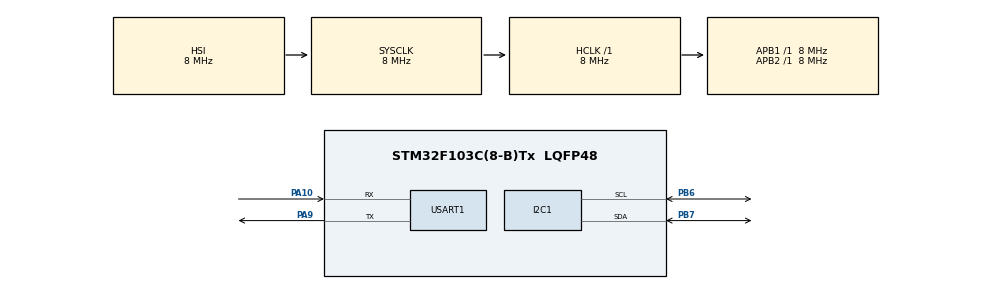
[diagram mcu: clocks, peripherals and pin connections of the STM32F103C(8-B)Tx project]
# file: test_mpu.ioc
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Mcu.Family=STM32F1
Mcu.Name=STM32F103C(8-B)Tx
Mcu.Package=LQFP48
NVIC.PriorityGroup=NVIC_PRIORITYGROUP_4
PA10.Mode=Asynchronous
PA10.Signal=USART1_RX
PA13.Mode=Serial_Wire
PA13.Signal=SYS_JTMS-SWDIO
PA14.Mode=Serial_Wire
PA14.Signal=SYS_JTCK-SWCLK
PA9.Mode=Asynchronous
PA9.Signal=USART1_TX
PB6.Mode=I2C
PB6.Signal=I2C1_SCL
PB7.Mode=I2C
PB7.Signal=I2C1_SDA
ProjectManager.HeapSize=0x200
ProjectManager.StackSize=0x400
ProjectManager.TargetToolchain=STM32CubeIDE
RCC.AHBFreq_Value=8000000
RCC.APB1Freq_Value=8000000
RCC.APB1TimFreq_Value=8000000
RCC.APB2Freq_Value=8000000
RCC.APB2TimFreq_Value=8000000
RCC.HCLKFreq_Value=8000000
RCC.SYSCLKFreq_VALUE=8000000
RCC.USBFreq_Value=8000000
USART1.VirtualMode=VM_ASYNC
board=custom

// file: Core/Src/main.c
/* USER CODE BEGIN Header */
/**
  ******************************************************************************
  * @file           : main.c
  * @brief          : Chuong trinh doc MPU-6050 qua I2C1 va xuat du lieu len PuTTY qua UART1
  ******************************************************************************
  * Cau hinh chan STM32F103:
  * - I2C1:  SCL = PB6, SDA = PB7 (MPU-6050 GY-521)
  * - UART1: TX = PA9,  RX = PA10 (115200 baud, noi vao USB-TTL de xem tren PuTTY)
  * - Nguon: VCC MPU-6050 noi vao 5V (hoac 3.3V), GND noi GND chung.
  ******************************************************************************
  */
/* USER CODE END Header */
#include "main.h"

/* USER CODE BEGIN Includes */
#include <stdio.h>
#include <string.h>
#include <stdlib.h>
/* USER CODE END Includes */

I2C_HandleTypeDef hi2c1;

UART_HandleTypeDef huart1;

/* USER CODE BEGIN PV */
uint8_t mpu_found = 0;
uint8_t mpu_dev_addr = 0; // Dia chi 8-bit cho HAL (0xD0 hoac 0xD2)
uint8_t who_am_i = 0;
/* USER CODE END PV */

void SystemClock_Config(void);
static void MX_GPIO_Init(void);
static void MX_I2C1_Init(void);
static void MX_USART1_UART_Init(void);
/* USER CODE BEGIN PFP */
void UART_Print(const char *str);
uint8_t MPU6050_Init_Sequence(void);
/* USER CODE END PFP */

/* USER CODE BEGIN 0 */
void UART_Print(const char *str)
{
  HAL_UART_Transmit(&huart1, (uint8_t *)str, strlen(str), 200);
}

// Ham khoi tao va cau hinh MPU-6050
uint8_t MPU6050_Init_Sequence(void)
{
  char log_buf[128];
  uint8_t check_addr[2] = {0x68 << 1, 0x69 << 1}; // 0xD0 va 0xD2

  mpu_found = 0;

  // 1. Quet tim xem MPU o dia chi 0x68 hay 0x69
  for (int i = 0; i < 2; i++) {
    if (HAL_I2C_IsDeviceReady(&hi2c1, check_addr[i], 3, 100) == HAL_OK) {
      mpu_found = 1;
      mpu_dev_addr = check_addr[i];
      break;
    }
  }

  // 2. Neu chua thay, quet toan bo bus 1..127 phong truong hop clone ID la
  if (!mpu_found) {
    for (uint8_t a = 1; a < 128; a++) {
      if (HAL_I2C_IsDeviceReady(&hi2c1, a << 1, 2, 50) == HAL_OK) {
        mpu_found = 1;
        mpu_dev_addr = a << 1;
        break;
      }
    }
  }

  if (!mpu_found) {
    UART_Print("[-] KHONG TIM THAY MPU-6050! Vui long kiem tra day:\r\n");
    UART_Print("    PB6 -> SCL | PB7 -> SDA | 5V -> VCC | GND -> GND\r\n\r\n");
    return 0;
  }

  // Thong bao tim thay
  snprintf(log_buf, sizeof(log_buf),
           "[+] TIM THAY THIET BI I2C tai dia chi 7-bit: 0x%02X (HAL Addr: 0x%02X)\r\n",
           mpu_dev_addr >> 1, mpu_dev_addr);
  UART_Print(log_buf);

  // 3. Doc thanh ghi WHO_AM_I (0x75)
  HAL_StatusTypeDef ret = HAL_I2C_Mem_Read(&hi2c1, mpu_dev_addr, 0x75, I2C_MEMADD_SIZE_8BIT, &who_am_i, 1, 100);
  if (ret == HAL_OK) {
    snprintf(log_buf, sizeof(log_buf), "[+] Doc WHO_AM_I thanh cong: 0x%02X ", who_am_i);
    UART_Print(log_buf);
    if (who_am_i == 0x68) UART_Print("(MPU-6050 Chinh hang)\r\n");
    else if (who_am_i == 0x70) UART_Print("(MPU-6500)\r\n");
    else if (who_am_i == 0x71) UART_Print("(MPU-9250)\r\n");
    else if (who_am_i == 0x72) UART_Print("(MPU-6515)\r\n");
    else if (who_am_i == 0x98) UART_Print("(MPU-6050 Clone)\r\n");
    else UART_Print("(Chip MPU/ICM Tuong thich)\r\n");
  } else {
    UART_Print("[-] Loi khi doc WHO_AM_I tu thanh ghi 0x75!\r\n");
  }

  // 4. Danh thuc MPU (Ghi 0x00 vao PWR_MGMT_1 tai 0x6B)
  uint8_t data_pwr = 0x00;
  HAL_I2C_Mem_Write(&hi2c1, mpu_dev_addr, 0x6B, I2C_MEMADD_SIZE_8BIT, &data_pwr, 1, 100);

  // 5. Bat ca 3 truc (Ghi 0x00 vao PWR_MGMT_2 tai 0x6C)
  uint8_t data_axes = 0x00;
  HAL_I2C_Mem_Write(&hi2c1, mpu_dev_addr, 0x6C, I2C_MEMADD_SIZE_8BIT, &data_axes, 1, 100);

  // 6. Cau hinh bo loc so DLPF 44Hz (Ghi 0x03 vao CONFIG tai 0x1A)
  uint8_t data_dlpf = 0x03;
  HAL_I2C_Mem_Write(&hi2c1, mpu_dev_addr, 0x1A, I2C_MEMADD_SIZE_8BIT, &data_dlpf, 1, 100);

  // 7. Cau hinh dai do gia toc +-2g (Ghi 0x00 vao ACCEL_CONFIG tai 0x1C)
  uint8_t data_scale = 0x00;
  HAL_I2C_Mem_Write(&hi2c1, mpu_dev_addr, 0x1C, I2C_MEMADD_SIZE_8BIT, &data_scale, 1, 100);

  UART_Print("[+] Da gui lenh danh thuc va cau hinh MPU thanh cong!\r\n");
  UART_Print("------------------------------------------------------------------------\r\n");
  return 1;
}
/* USER CODE END 0 */

int main(void)
{

  /* MCU Configuration--------------------------------------------------------*/

  /* Reset of all peripherals, Initializes the Flash interface and the Systick. */
  HAL_Init();

  /* Configure the system clock */
  SystemClock_Config();

  /* Initialize all configured peripherals */
  MX_GPIO_Init();
  MX_I2C1_Init();
  MX_USART1_UART_Init();

  /* USER CODE BEGIN 2 */
  HAL_Delay(500); // Cho MPU on dinh nguon

  UART_Print("\r\n========================================================================\r\n");
  UART_Print("   HE THONG KIEM THU CAM BIEN MPU-6050 (GY-521) QUA STM32 & PUTTY\r\n");
  UART_Print("   Baudrate: 115200 | SCL: PB6 | SDA: PB7 | TX: PA9 (Noi vao RX USB-TTL)\r\n");
  UART_Print("========================================================================\r\n\r\n");

  MPU6050_Init_Sequence();
  /* USER CODE END 2 */

  /* Infinite loop */
  /* USER CODE BEGIN WHILE */
  uint8_t raw_accel[6];
  char sample_buf[128];
  uint32_t sample_count = 0;

  while (1)
  {
    /* USER CODE END WHILE */

    /* USER CODE BEGIN 3 */
    if (mpu_found) {
      // Doc 6 bytes gia toc tu thanh ghi 0x3B (ACCEL_XOUT_H)
      HAL_StatusTypeDef status = HAL_I2C_Mem_Read(&hi2c1, mpu_dev_addr, 0x3B,
                                                  I2C_MEMADD_SIZE_8BIT, raw_accel, 6, 100);

      if (status == HAL_OK) {
        sample_count++;
        // Ghep 2 byte thanh so nguyen 16-bit co dau
        int16_t raw_ax = (int16_t)((raw_accel[0] << 8) | raw_accel[1]);
        int16_t raw_ay = (int16_t)((raw_accel[2] << 8) | raw_accel[3]);
        int16_t raw_az = (int16_t)((raw_accel[4] << 8) | raw_accel[5]);

        // Tinh gia tri gia toc don vi g (dài +-2g: 16384 LSB = 1.0g)
        float ax_g = (float)raw_ax / 16384.0f;
        float ay_g = (float)raw_ay / 16384.0f;
        float az_g = (float)raw_az / 16384.0f;

        // In ra PuTTY (format dep de quan sat su bien doi khi lac/nghieng MPU)
        snprintf(sample_buf, sizeof(sample_buf),
                 "#%05lu | Ax=%+6d (%+.2fg) | Ay=%+6d (%+.2fg) | Az=%+6d (%+.2fg)\r\n",
                 sample_count,
                 raw_ax, ax_g,
                 raw_ay, ay_g,
                 raw_az, az_g);
        UART_Print(sample_buf);
      } else {
        UART_Print("[-] Mat ket noi I2C khi doc gia toc! Dang thu ket noi lai...\r\n");
        HAL_Delay(500);
        MPU6050_Init_Sequence();
      }

      HAL_Delay(100); // Doc 10 lan/giay (10 Hz) de PuTTY hien thi ro rang, de nhin
    } else {
      // Neu chua tim thay, lap lai do tim sau moi 2 giay
      HAL_Delay(2000);
      MPU6050_Init_Sequence();
    }
  }
  /* USER CODE END 3 */
}

void SystemClock_Config(void)
{
  RCC_OscInitTypeDef RCC_OscInitStruct = {0};
  RCC_ClkInitTypeDef RCC_ClkInitStruct = {0};

  /** Initializes the RCC Oscillators according to the specified parameters
  * in the RCC_OscInitTypeDef structure.
  */
  RCC_OscInitStruct.OscillatorType = RCC_OSCILLATORTYPE_HSI;
  RCC_OscInitStruct.HSIState = RCC_HSI_ON;
  RCC_OscInitStruct.HSICalibrationValue = RCC_HSICALIBRATION_DEFAULT;
  RCC_OscInitStruct.PLL.PLLState = RCC_PLL_NONE;
  if (HAL_RCC_OscConfig(&RCC_OscInitStruct) != HAL_OK)
  {
    Error_Handler();
  }

  /** Initializes the CPU, AHB and APB buses clocks
  */
  RCC_ClkInitStruct.ClockType = RCC_CLOCKTYPE_HCLK|RCC_CLOCKTYPE_SYSCLK
                              |RCC_CLOCKTYPE_PCLK1|RCC_CLOCKTYPE_PCLK2;
  RCC_ClkInitStruct.SYSCLKSource = RCC_SYSCLKSOURCE_HSI;
  RCC_ClkInitStruct.AHBCLKDivider = RCC_SYSCLK_DIV1;
  RCC_ClkInitStruct.APB1CLKDivider = RCC_HCLK_DIV1;
  RCC_ClkInitStruct.APB2CLKDivider = RCC_HCLK_DIV1;

  if (HAL_RCC_ClockConfig(&RCC_ClkInitStruct, FLASH_LATENCY_0) != HAL_OK)
  {
    Error_Handler();
  }
}

static void MX_I2C1_Init(void)
{

  hi2c1.Instance = I2C1;
  hi2c1.Init.ClockSpeed = 100000;
  hi2c1.Init.DutyCycle = I2C_DUTYCYCLE_2;
  hi2c1.Init.OwnAddress1 = 0;
  hi2c1.Init.AddressingMode = I2C_ADDRESSINGMODE_7BIT;
  hi2c1.Init.DualAddressMode = I2C_DUALADDRESS_DISABLE;
  hi2c1.Init.OwnAddress2 = 0;
  hi2c1.Init.GeneralCallMode = I2C_GENERALCALL_DISABLE;
  hi2c1.Init.NoStretchMode = I2C_NOSTRETCH_DISABLE;
  if (HAL_I2C_Init(&hi2c1) != HAL_OK)
  {
    Error_Handler();
  }

}

static void MX_USART1_UART_Init(void)
{

  huart1.Instance = USART1;
  huart1.Init.BaudRate = 115200;
  huart1.Init.WordLength = UART_WORDLENGTH_8B;
  huart1.Init.StopBits = UART_STOPBITS_1;
  huart1.Init.Parity = UART_PARITY_NONE;
  huart1.Init.Mode = UART_MODE_TX_RX;
  huart1.Init.HwFlowCtl = UART_HWCONTROL_NONE;
  huart1.Init.OverSampling = UART_OVERSAMPLING_16;
  if (HAL_UART_Init(&huart1) != HAL_OK)
  {
    Error_Handler();
  }

}

static void MX_GPIO_Init(void)
{

  /* GPIO Ports Clock Enable */
  __HAL_RCC_GPIOA_CLK_ENABLE();
  __HAL_RCC_GPIOB_CLK_ENABLE();

}

void Error_Handler(void)
{
  __disable_irq();
  while (1)
  {
  }
}
